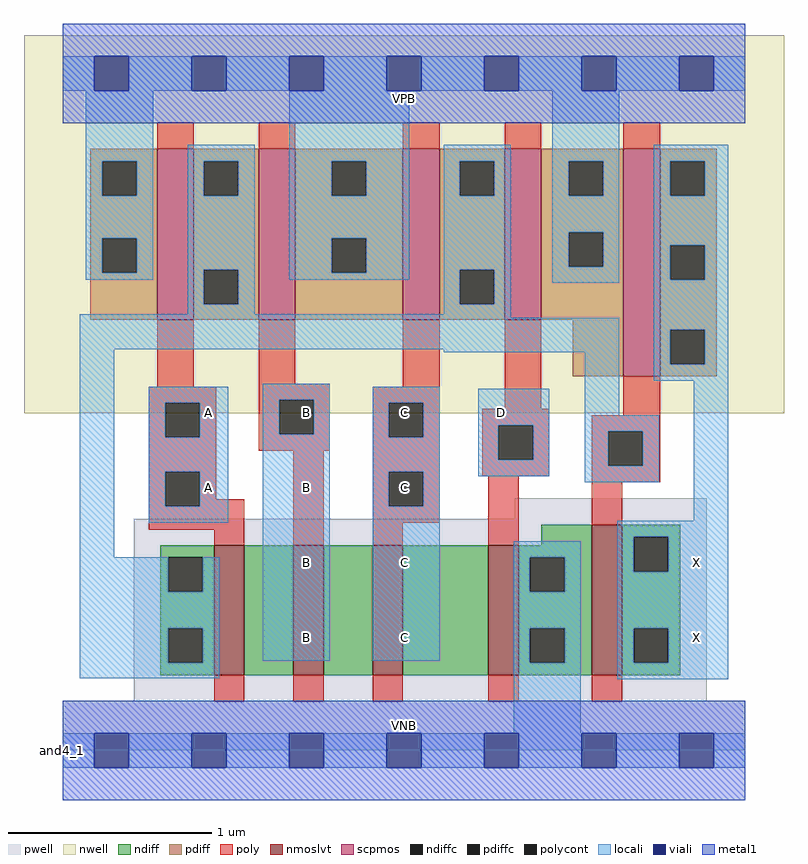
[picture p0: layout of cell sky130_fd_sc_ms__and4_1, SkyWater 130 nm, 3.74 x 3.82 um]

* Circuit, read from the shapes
.subckt sky130_fd_sc_ms__and4_1 A B C D VGND VNB VPB VPWR X
XM1 n1 A n2 VNB sky130_fd_pr__nfet_01v8_lvt w=0.64 l=0.15
XM2 n3 B n1 VNB sky130_fd_pr__nfet_01v8_lvt w=0.64 l=0.15
XM3 n4 C n3 VNB sky130_fd_pr__nfet_01v8_lvt w=0.64 l=0.15
XM4 VGND D n4 VNB sky130_fd_pr__nfet_01v8_lvt w=0.64 l=0.15
XM5 X n2 VGND VNB sky130_fd_pr__nfet_01v8_lvt w=0.74 l=0.15
XM6 n2 A VPWR VPB sky130_fd_pr__pfet_01v8 w=0.84 l=0.18
XM7 VPWR B n2 VPB sky130_fd_pr__pfet_01v8 w=0.84 l=0.18
XM8 n2 C VPWR VPB sky130_fd_pr__pfet_01v8 w=0.84 l=0.18
XM9 VPWR D n2 VPB sky130_fd_pr__pfet_01v8 w=0.84 l=0.18
XM10 X n2 VPWR VPB sky130_fd_pr__pfet_01v8 w=1.12 l=0.18
.ends

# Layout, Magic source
magic
tech sky130A
magscale 1 2
<< nwell >>
rect -38 332 710 704
<< pwell >>
rect 445 228 634 248
rect 70 49 634 228
rect 0 0 672 49
<< scpmos >>
rect 93 424 129 592
rect 193 424 229 592
rect 335 424 371 592
rect 435 424 471 592
rect 552 368 588 592
<< nmoslvt >>
rect 149 74 179 202
rect 227 74 257 202
rect 305 74 335 202
rect 419 74 449 202
rect 521 74 551 222
<< ndiff >>
rect 471 202 521 222
rect 96 190 149 202
rect 96 156 104 190
rect 138 156 149 190
rect 96 120 149 156
rect 96 86 104 120
rect 138 86 149 120
rect 96 74 149 86
rect 179 74 227 202
rect 257 74 305 202
rect 335 74 419 202
rect 449 190 521 202
rect 449 156 460 190
rect 494 156 521 190
rect 449 120 521 156
rect 449 86 460 120
rect 494 86 521 120
rect 449 74 521 86
rect 551 210 608 222
rect 551 176 562 210
rect 596 176 608 210
rect 551 120 608 176
rect 551 86 562 120
rect 596 86 608 120
rect 551 74 608 86
<< pdiff >>
rect 27 580 93 592
rect 27 546 39 580
rect 73 546 93 580
rect 27 504 93 546
rect 27 470 39 504
rect 73 470 93 504
rect 27 424 93 470
rect 129 580 193 592
rect 129 546 139 580
rect 173 546 193 580
rect 129 473 193 546
rect 129 439 139 473
rect 173 439 193 473
rect 129 424 193 439
rect 229 580 335 592
rect 229 546 265 580
rect 299 546 335 580
rect 229 504 335 546
rect 229 470 265 504
rect 299 470 335 504
rect 229 424 335 470
rect 371 580 435 592
rect 371 546 391 580
rect 425 546 435 580
rect 371 473 435 546
rect 371 439 391 473
rect 425 439 435 473
rect 371 424 435 439
rect 471 580 552 592
rect 471 546 498 580
rect 532 546 552 580
rect 471 510 552 546
rect 471 476 498 510
rect 532 476 552 510
rect 471 424 552 476
rect 502 368 552 424
rect 588 580 644 592
rect 588 546 598 580
rect 632 546 644 580
rect 588 497 644 546
rect 588 463 598 497
rect 632 463 644 497
rect 588 414 644 463
rect 588 380 598 414
rect 632 380 644 414
rect 588 368 644 380
<< ndiffc >>
rect 104 156 138 190
rect 104 86 138 120
rect 460 156 494 190
rect 460 86 494 120
rect 562 176 596 210
rect 562 86 596 120
<< pdiffc >>
rect 39 546 73 580
rect 39 470 73 504
rect 139 546 173 580
rect 139 439 173 473
rect 265 546 299 580
rect 265 470 299 504
rect 391 546 425 580
rect 391 439 425 473
rect 498 546 532 580
rect 498 476 532 510
rect 598 546 632 580
rect 598 463 632 497
rect 598 380 632 414
<< poly >>
rect 93 592 129 618
rect 193 592 229 618
rect 335 592 371 618
rect 435 592 471 618
rect 552 592 588 618
rect 93 358 129 424
rect 193 361 229 424
rect 85 342 151 358
rect 85 308 101 342
rect 135 308 151 342
rect 85 274 151 308
rect 193 345 263 361
rect 335 358 371 424
rect 193 311 213 345
rect 247 311 263 345
rect 193 295 263 311
rect 305 342 371 358
rect 305 308 321 342
rect 355 308 371 342
rect 435 336 471 424
rect 85 240 101 274
rect 135 247 151 274
rect 135 240 179 247
rect 85 217 179 240
rect 149 202 179 217
rect 227 202 257 295
rect 305 274 371 308
rect 305 240 321 274
rect 355 240 371 274
rect 413 320 479 336
rect 552 330 588 368
rect 413 286 429 320
rect 463 286 479 320
rect 413 270 479 286
rect 521 314 588 330
rect 521 280 537 314
rect 571 280 588 314
rect 305 224 371 240
rect 305 202 335 224
rect 419 202 449 270
rect 521 264 588 280
rect 521 222 551 264
rect 149 48 179 74
rect 227 48 257 74
rect 305 48 335 74
rect 419 48 449 74
rect 521 48 551 74
<< polycont >>
rect 101 308 135 342
rect 213 311 247 345
rect 321 308 355 342
rect 101 240 135 274
rect 321 240 355 274
rect 429 286 463 320
rect 537 280 571 314
<< locali >>
rect 0 649 31 683
rect 65 649 127 683
rect 161 649 223 683
rect 257 649 319 683
rect 353 649 415 683
rect 449 649 511 683
rect 545 649 607 683
rect 641 649 672 683
rect 23 580 89 649
rect 23 546 39 580
rect 73 546 89 580
rect 23 504 89 546
rect 23 470 39 504
rect 73 470 89 504
rect 23 463 89 470
rect 123 580 189 596
rect 123 546 139 580
rect 173 546 189 580
rect 123 473 189 546
rect 123 439 139 473
rect 173 439 189 473
rect 223 580 341 649
rect 223 546 265 580
rect 299 546 341 580
rect 223 504 341 546
rect 223 470 265 504
rect 299 470 341 504
rect 223 463 341 470
rect 375 580 441 596
rect 375 546 391 580
rect 425 546 441 580
rect 375 473 441 546
rect 123 429 189 439
rect 375 439 391 473
rect 425 439 441 473
rect 482 580 548 649
rect 482 546 498 580
rect 532 546 548 580
rect 482 510 548 546
rect 482 476 498 510
rect 532 476 548 510
rect 482 460 548 476
rect 582 580 655 596
rect 582 546 598 580
rect 632 546 655 580
rect 582 497 655 546
rect 582 463 598 497
rect 632 463 655 497
rect 375 429 441 439
rect 17 426 441 429
rect 17 395 548 426
rect 17 190 51 395
rect 375 392 548 395
rect 85 342 163 358
rect 85 308 101 342
rect 135 308 163 342
rect 85 274 163 308
rect 85 240 101 274
rect 135 240 163 274
rect 85 224 163 240
rect 197 345 263 361
rect 197 311 213 345
rect 247 311 263 345
rect 17 156 104 190
rect 138 156 154 190
rect 17 120 154 156
rect 17 86 104 120
rect 138 86 154 120
rect 197 88 263 311
rect 305 342 371 358
rect 305 308 321 342
rect 355 308 371 342
rect 305 274 371 308
rect 305 240 321 274
rect 355 240 371 274
rect 409 320 479 356
rect 409 286 429 320
rect 463 286 479 320
rect 409 270 479 286
rect 514 330 548 392
rect 582 414 655 463
rect 582 380 598 414
rect 632 380 655 414
rect 582 364 655 380
rect 514 314 587 330
rect 514 280 537 314
rect 571 280 587 314
rect 514 264 587 280
rect 305 88 371 240
rect 621 226 655 364
rect 546 210 655 226
rect 444 190 510 206
rect 444 156 460 190
rect 494 156 510 190
rect 444 120 510 156
rect 17 71 154 86
rect 444 86 460 120
rect 494 86 510 120
rect 444 17 510 86
rect 546 176 562 210
rect 596 176 655 210
rect 546 120 655 176
rect 546 86 562 120
rect 596 86 655 120
rect 546 70 655 86
rect 0 -17 31 17
rect 65 -17 127 17
rect 161 -17 223 17
rect 257 -17 319 17
rect 353 -17 415 17
rect 449 -17 511 17
rect 545 -17 607 17
rect 641 -17 672 17
<< viali >>
rect 31 649 65 683
rect 127 649 161 683
rect 223 649 257 683
rect 319 649 353 683
rect 415 649 449 683
rect 511 649 545 683
rect 607 649 641 683
rect 31 -17 65 17
rect 127 -17 161 17
rect 223 -17 257 17
rect 319 -17 353 17
rect 415 -17 449 17
rect 511 -17 545 17
rect 607 -17 641 17
<< metal1 >>
rect 0 683 672 715
rect 0 649 31 683
rect 65 649 127 683
rect 161 649 223 683
rect 257 649 319 683
rect 353 649 415 683
rect 449 649 511 683
rect 545 649 607 683
rect 641 649 672 683
rect 0 617 672 649
rect 0 17 672 49
rect 0 -17 31 17
rect 65 -17 127 17
rect 161 -17 223 17
rect 257 -17 319 17
rect 353 -17 415 17
rect 449 -17 511 17
rect 545 -17 607 17
rect 641 -17 672 17
rect 0 -49 672 -17
<< labels >>
flabel pwell s 0 0 672 49 0 FreeSans 200 0 0 0 VNB
port 6 nsew ground bidirectional
flabel nwell s 0 617 672 666 0 FreeSans 200 0 0 0 VPB
port 7 nsew power bidirectional
rlabel comment s 0 0 0 0 4 and4_1
flabel metal1 s 0 617 672 666 0 FreeSans 340 0 0 0 VPWR
port 8 nsew power bidirectional
flabel metal1 s 0 0 672 49 0 FreeSans 340 0 0 0 VGND
port 5 nsew ground bidirectional
flabel locali s 127 242 161 276 0 FreeSans 340 0 0 0 A
port 1 nsew signal input
flabel locali s 127 316 161 350 0 FreeSans 340 0 0 0 A
port 1 nsew signal input
flabel locali s 223 94 257 128 0 FreeSans 340 0 0 0 B
port 2 nsew signal input
flabel locali s 223 168 257 202 0 FreeSans 340 0 0 0 B
port 2 nsew signal input
flabel locali s 223 242 257 276 0 FreeSans 340 0 0 0 B
port 2 nsew signal input
flabel locali s 223 316 257 350 0 FreeSans 340 0 0 0 B
port 2 nsew signal input
flabel locali s 319 94 353 128 0 FreeSans 340 0 0 0 C
port 3 nsew signal input
flabel locali s 319 168 353 202 0 FreeSans 340 0 0 0 C
port 3 nsew signal input
flabel locali s 319 242 353 276 0 FreeSans 340 0 0 0 C
port 3 nsew signal input
flabel locali s 319 316 353 350 0 FreeSans 340 0 0 0 C
port 3 nsew signal input
flabel locali s 415 316 449 350 0 FreeSans 340 0 0 0 D
port 4 nsew signal input
flabel locali s 607 94 641 128 0 FreeSans 340 0 0 0 X
port 9 nsew signal output
flabel locali s 607 168 641 202 0 FreeSans 340 0 0 0 X
port 9 nsew signal output
<< properties >>
string LEFsite unit
string LEFclass CORE
string FIXED_BBOX 0 0 672 666
string GDS_FILE $PDKPATH/libs.ref/sky130_fd_sc_ms/gds/sky130_fd_sc_ms.gds
string LEFsymmetry X Y
string GDS_END 3476522
string GDS_START 3469384
<< end >>
